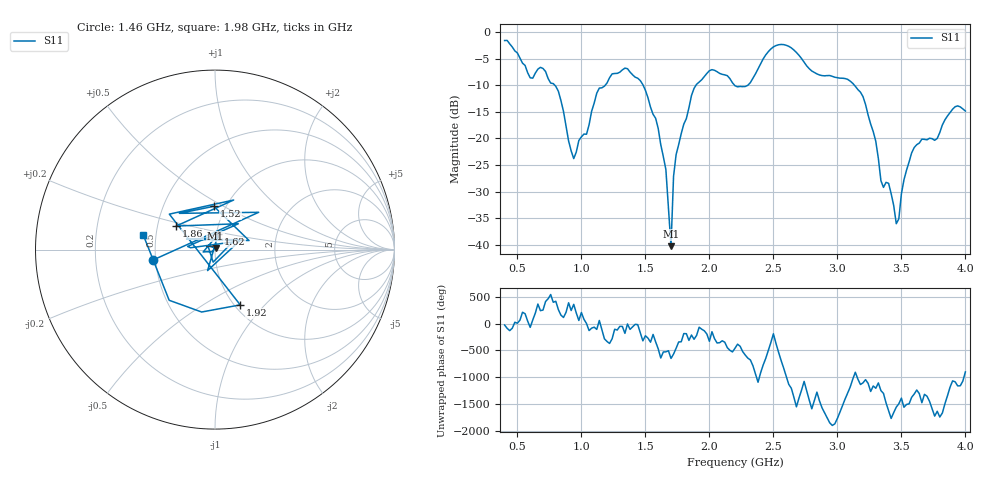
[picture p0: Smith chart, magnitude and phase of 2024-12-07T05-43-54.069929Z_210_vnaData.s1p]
!Created with skrf (http://scikit-rf.org).
# Hz S RI R 50.0
!freq ReS11 ImS11
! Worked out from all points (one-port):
!   181 points, 400 MHz to 4 GHz, reference 50 ohm
!   lowest |S11| = -40.2 dB at 1.7 GHz (marker M1), VSWR 1.02, Z = 50.3 + j0.926 ohm
!   |S11| at or under -10 dB: 791.6 MHz to 1.186 GHz (394.7 MHz wide, 39.9 % of centre); 1.482 GHz to 1.896 GHz (413.7 MHz wide, 24.5 % of centre); 3.132 GHz to end of sweep (the widest 3 of 4)
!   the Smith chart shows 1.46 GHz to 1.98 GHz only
!   S11 on the Smith chart (normalised r, x): 1.46 GHz: 0.49, -0.06; 1.52 GHz: 0.88, +0.45; 1.62 GHz: 1.02, +0.18; 1.86 GHz: 0.63, +0.18; 1.92 GHz: 1.06, -0.74; 1.98 GHz: 0.42, +0.08
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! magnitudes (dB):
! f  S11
! 400 MHz  -1.6
! 600 MHz  -8.6
! 720 MHz  -7.4
! 860 MHz  -14.9
! 940 MHz  -23.8
! 1.14 GHz  -10.5
! 1.3 GHz  -7.6
! 1.46 GHz  -9.1
! 1.52 GHz  -12.4
! 1.62 GHz  -21.2
! 1.66 GHz  -25.8
! 1.7 GHz  -40.2
! 1.72 GHz  -27.1
! 1.76 GHz  -21.2
! 1.86 GHz  -11.9
! 1.92 GHz  -9.4
! 1.98 GHz  -7.8
! 2.2 GHz  -10.1
! 2.5 GHz  -2.8
! 2.66 GHz  -3.4
! 3.1 GHz  -9.2
! 3.2 GHz  -12.1
! 3.3 GHz  -20.5
! 3.34 GHz  -27.9
! 3.4 GHz  -28.4
! 3.46 GHz  -36.0
! 3.56 GHz  -24.4
! 4 GHz  -14.9
